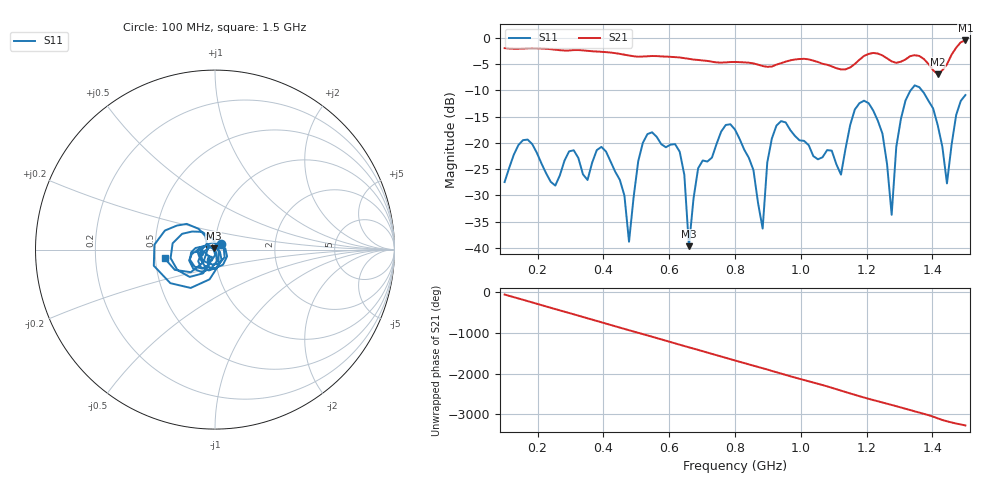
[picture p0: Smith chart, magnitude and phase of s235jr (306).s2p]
! NanoVNA-App
! Date: 2025-09-25 15:06:32
! Start: 100MHz Stop: 1,5GHz Points: 101
! S-Parameter data: F S11 S21 S12 S22
# Hz S RI R 50
!  Frequency  S11_Real  S11_Imag  S21_Real  S21_Imag  S12_Real  S12_Imag  S22_Real  S22_Imag
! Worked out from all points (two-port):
!   101 points, 100 MHz to 1.5 GHz, reference 50 ohm
!   highest |S21| = -0.50 dB at 1.5 GHz (marker M1); lowest = -6.9 dB at 1.416 GHz (marker M2)
!   |S21| within 3 dB of the highest: start of sweep to 491.6 MHz; 1.191 GHz to 1.252 GHz (60.71 MHz wide, 4.97 % of centre) (the widest 2 of 5)
!   lowest |S11| = -39.7 dB at 660 MHz (marker M3), VSWR 1.02, Z = 49.2 + j0.616 ohm
!   |S11| at or under -10 dB: start of sweep to 1.334 GHz; 1.368 GHz to end of sweep
!   S12 and S22 are empty: the file has one direction only
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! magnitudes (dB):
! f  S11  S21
! 100 MHz  -27.5  -2.0
! 170 MHz  -19.4  -2.0
! 338 MHz  -26.0  -2.4
! 408 MHz  -21.6  -2.7
! 478 MHz  -38.8  -3.4
! 520 MHz  -20.0  -3.6
! 576 MHz  -20.3  -3.5
! 632 MHz  -21.7  -3.7
! 660 MHz  -39.7  -4.0
! 688 MHz  -24.8  -4.2
! 800 MHz  -17.5  -4.6
! 884 MHz  -36.3  -5.4
! 926 MHz  -16.7  -5.1
! 1.038 GHz  -22.5  -4.3
! 1.122 GHz  -26.1  -6.0
! 1.206 GHz  -12.4  -3.1
! 1.276 GHz  -33.7  -4.5
! 1.29 GHz  -20.8  -4.8
! 1.332 GHz  -10.1  -3.5
! 1.416 GHz  -16.6  -6.9
! 1.444 GHz  -27.7  -5.1
! 1.5 GHz  -10.9  -0.5
